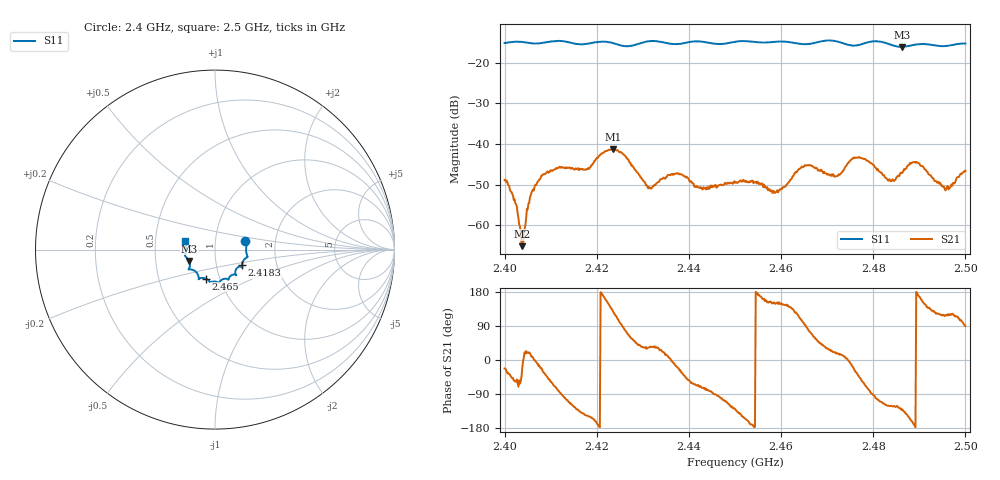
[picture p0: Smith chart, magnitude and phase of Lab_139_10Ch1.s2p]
# Hz S RI R 50
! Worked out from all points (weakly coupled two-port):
!   601 points, 2.4 GHz to 2.5 GHz, reference 50 ohm
!   highest |S21| = -41.29 dB at 2.4235 GHz (marker M1); lowest = -65.1 dB at 2.4038 GHz (marker M2)
!   lowest |S11| = -16.1 dB at 2.4862 GHz (marker M3), VSWR 1.37, Z = 37.2 - j4.83 ohm
!   |S11| at or under -10 dB: start of sweep to end of sweep
!   S12 and S22 are empty: the file has one direction only
!   S11 on the Smith chart (normalised r, x): 2.4 GHz: 1.40, +0.14; 2.4183 GHz: 1.33, -0.24; 2.465 GHz: 0.86, -0.28; 2.5 GHz: 0.71, +0.07
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2.4e9  0.1688 0.0472  0.00334 -0.00137  0 0  0 0
2.402167e9  0.1781 0.0364  0.00118 -0.00172  0 0  0 0
2.403833e9  0.1786 0.0283  0.000518 -0.000199  0 0  0 0
2.405667e9  0.1741 0.0121  0.00229 0.00053  0 0  0 0
2.408e9  0.1745 -0.0158  0.00381 -0.00152  0 0  0 0
2.416667e9  0.1548 -0.0681  -0.00369 -0.0032  0 0  0 0
2.418333e9  0.1502 -0.0869  -0.00425 -0.00256  0 0  0 0
2.4235e9  0.1467 -0.0958  -0.00536 0.00676  0 0  0 0
2.431167e9  0.117 -0.142  0.00239 0.00155  0 0  0 0
2.433333e9  0.1174 -0.1409  0.00293 0.00177  0 0  0 0
2.4375e9  0.0866 -0.1463  0.00407 -0.00144  0 0  0 0
2.45e9  0.0261 -0.1798  -0.00208 -0.00261  0 0  0 0
2.459e9  -0.0232 -0.1807  -0.00226 0.00128  0 0  0 0
2.465e9  -0.0526 -0.1613  -0.00053 0.00532  0 0  0 0
2.466667e9  -0.0712 -0.1576  0.00202 0.00506  0 0  0 0
2.472e9  -0.0905 -0.1606  0.00385 0.00116  0 0  0 0
2.477333e9  -0.1254 -0.1127  0.00427 -0.00518  0 0  0 0
2.483333e9  -0.1412 -0.0964  -0.00181 -0.00306  0 0  0 0
2.486167e9  -0.1437 -0.0634  -0.00293 -0.00327  0 0  0 0
2.4895e9  -0.1644 -0.0388  -0.00588 0.000337  0 0  0 0
2.496e9  -0.1607 0.0158  -0.00136 0.00263  0 0  0 0
2.5e9  -0.1664 0.0469  5.17e-05 0.00468  0 0  0 0
